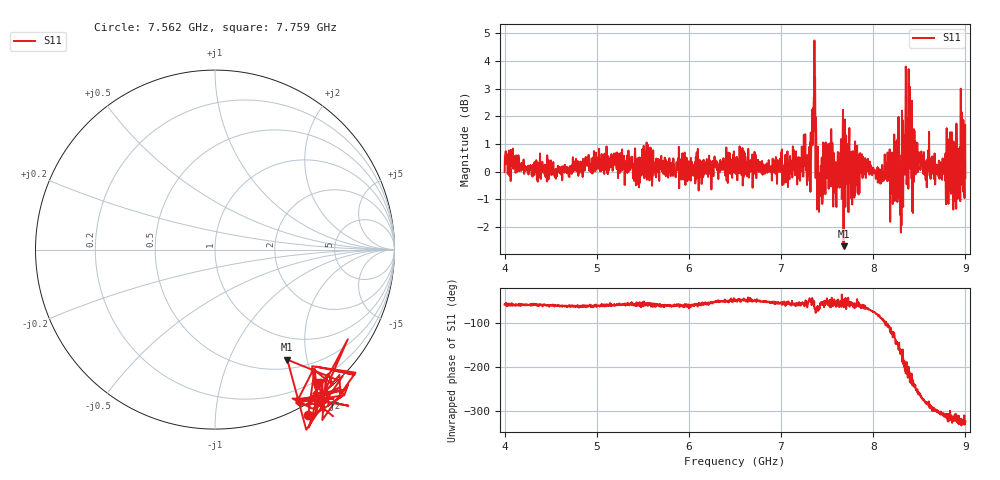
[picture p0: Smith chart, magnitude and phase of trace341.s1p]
! Created with skrf 1.8.0 (http://scikit-rf.org).
# Hz S RI R 50.0
!freq ReS11 ImS11
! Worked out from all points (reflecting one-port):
!   1601 points, 4 GHz to 9 GHz, reference 50 ohm
!   lowest |S11| = -2.7 dB at 7.678 GHz (marker M1), VSWR 6.52, Z = 31.5 - j83.7 ohm
!   phase of S11 starts at -57 deg and turns -266 deg over the sweep
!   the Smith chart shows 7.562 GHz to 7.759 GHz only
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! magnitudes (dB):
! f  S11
! 4 GHz  0.0
! 4.625 GHz  -0.3
! 5.25 GHz  0.0
! 5.875 GHz  0.2
! 6.5 GHz  0.4
! 7.125 GHz  0.3
! 7.294 GHz  0.3
! 7.356 GHz  2.7
! 7.381 GHz  1.4
! 7.4 GHz  0.9
! 7.428 GHz  -0.8
! 7.534 GHz  0.8
! 7.588 GHz  -0.8
! 7.678 GHz  -2.7
! 7.75 GHz  0.3
! 8.156 GHz  0.7
! 8.209 GHz  -0.4
! 8.262 GHz  -1.1
! 8.312 GHz  2.2
! 8.334 GHz  0.0
! 8.347 GHz  1.4
! 8.375 GHz  0.1
! 8.447 GHz  1.5
! 8.766 GHz  0.3
! 8.834 GHz  1.4
! 8.875 GHz  0.2
! 8.953 GHz  -0.5
! 9 GHz  -0.2
